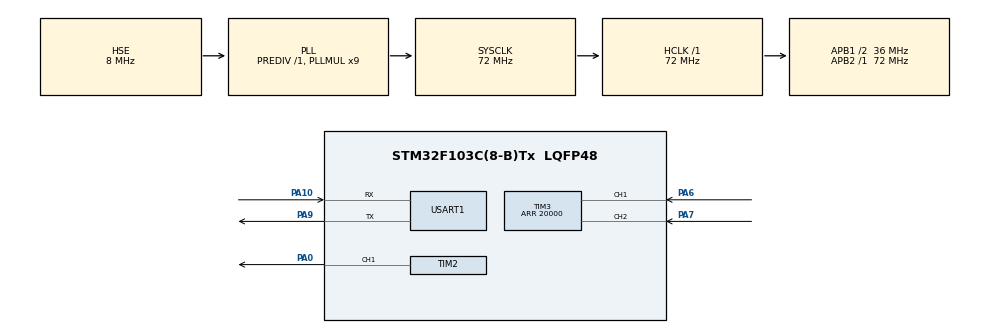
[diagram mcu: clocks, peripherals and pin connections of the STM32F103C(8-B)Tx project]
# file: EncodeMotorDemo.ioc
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Dma.Request0=USART1_TX
Dma.USART1_TX.0.Direction=DMA_MEMORY_TO_PERIPH
Dma.USART1_TX.0.Instance=DMA1_Channel4
Dma.USART1_TX.0.MemDataAlignment=DMA_MDATAALIGN_BYTE
Dma.USART1_TX.0.MemInc=DMA_MINC_ENABLE
Dma.USART1_TX.0.Mode=DMA_NORMAL
Dma.USART1_TX.0.PeriphDataAlignment=DMA_PDATAALIGN_BYTE
Dma.USART1_TX.0.PeriphInc=DMA_PINC_DISABLE
Dma.USART1_TX.0.Priority=DMA_PRIORITY_LOW
Mcu.Family=STM32F1
Mcu.Name=STM32F103C(8-B)Tx
Mcu.Package=LQFP48
NVIC.DMA1_Channel4_IRQn=true\:0\:0\:false\:false\:true\:false\:true\:true
NVIC.PriorityGroup=NVIC_PRIORITYGROUP_4
NVIC.TIM1_UP_IRQn=true\:15\:0\:false\:false\:true\:false\:true\:true
NVIC.TIM4_IRQn=true\:0\:0\:false\:false\:true\:true\:true\:true
NVIC.TimeBase=TIM1_UP_IRQn
NVIC.TimeBaseIP=TIM1
NVIC.USART1_IRQn=true\:0\:0\:false\:false\:true\:true\:true\:true
PA0-WKUP.Signal=S_TIM2_CH1_ETR
PA10.Mode=Asynchronous
PA10.Signal=USART1_RX
PA13.Mode=Serial_Wire
PA13.Signal=SYS_JTMS-SWDIO
PA14.Mode=Serial_Wire
PA14.Signal=SYS_JTCK-SWCLK
PA6.Signal=S_TIM3_CH1
PA7.Signal=S_TIM3_CH2
PA9.Mode=Asynchronous
PA9.Signal=USART1_TX
PC14-OSC32_IN.Mode=LSE-External-Oscillator
PC14-OSC32_IN.Signal=RCC_OSC32_IN
PC15-OSC32_OUT.Mode=LSE-External-Oscillator
PC15-OSC32_OUT.Signal=RCC_OSC32_OUT
PD0-OSC_IN.Mode=HSE-External-Oscillator
PD0-OSC_IN.Signal=RCC_OSC_IN
PD1-OSC_OUT.Mode=HSE-External-Oscillator
PD1-OSC_OUT.Signal=RCC_OSC_OUT
ProjectManager.HeapSize=0x200
ProjectManager.StackSize=0x400
ProjectManager.TargetToolchain=MDK-ARM V5.32
RCC.AHBFreq_Value=72000000
RCC.APB1CLKDivider=RCC_HCLK_DIV2
RCC.APB1Freq_Value=36000000
RCC.APB1TimFreq_Value=72000000
RCC.APB2Freq_Value=72000000
RCC.APB2TimFreq_Value=72000000
RCC.HCLKFreq_Value=72000000
RCC.PLLMUL=RCC_PLL_MUL9
RCC.PLLSourceVirtual=RCC_PLLSOURCE_HSE
RCC.SYSCLKFreq_VALUE=72000000
RCC.SYSCLKSource=RCC_SYSCLKSOURCE_PLLCLK
RCC.USBFreq_Value=72000000
SH.S_TIM2_CH1_ETR.0=TIM2_CH1,PWM Generation1 CH1
SH.S_TIM3_CH1.0=TIM3_CH1,Encoder_Interface
SH.S_TIM3_CH2.0=TIM3_CH2,Encoder_Interface
TIM2.AutoReloadPreload=TIM_AUTORELOAD_PRELOAD_ENABLE
TIM2.Channel-PWM\ Generation1\ CH1=TIM_CHANNEL_1
TIM2.Period=100-1
TIM2.Prescaler=72-1
TIM3.EncoderMode=TIM_ENCODERMODE_TI12
TIM3.IC1Filter=4
TIM3.IC2Filter=4
TIM3.Period=20000
TIM4.AutoReloadPreload=TIM_AUTORELOAD_PRELOAD_ENABLE
TIM4.Period=99
TIM4.Prescaler=7199
USART1.VirtualMode=VM_ASYNC
VP_SYS_VS_tim1.Mode=TIM1
VP_TIM2_VS_ClockSourceINT.Mode=Internal
VP_TIM4_VS_ClockSourceINT.Mode=Internal
board=custom

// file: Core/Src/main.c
/* USER CODE BEGIN Header */
/**
 ******************************************************************************
 * @file           : main.c
 * @brief          : Main program body
 ******************************************************************************
 * @attention
 *
 * Copyright (c) 2024 STMicroelectronics.
 * All rights reserved.
 *
 * This software is licensed under terms that can be found in the LICENSE file
 * in the root directory of this software component.
 * If no LICENSE file comes with this software, it is provided AS-IS.
 *
 ******************************************************************************
 */
/* USER CODE END Header */
#include "main.h"
#include "dma.h"
#include "tim.h"
#include "usart.h"
#include "gpio.h"

void SystemClock_Config(void);

int main(void)
{

  /* MCU Configuration--------------------------------------------------------*/

  /* Reset of all peripherals, Initializes the Flash interface and the Systick. */
  HAL_Init();

  /* Configure the system clock */
  SystemClock_Config();

  /* Initialize all configured peripherals */
  MX_GPIO_Init();
  MX_DMA_Init();
  MX_TIM2_Init();
  MX_TIM3_Init();
  MX_USART1_UART_Init();
  MX_TIM4_Init();
  /* USER CODE BEGIN 2 */
  elog_init();
  elog_set_fmt(ELOG_LVL_ASSERT, ELOG_FMT_ALL);
  elog_set_fmt(ELOG_LVL_ERROR, ELOG_FMT_LVL | ELOG_FMT_TAG | ELOG_FMT_TIME);
  elog_set_fmt(ELOG_LVL_WARN, ELOG_FMT_LVL | ELOG_FMT_TAG | ELOG_FMT_TIME);
  elog_set_fmt(ELOG_LVL_INFO, ELOG_FMT_LVL | ELOG_FMT_TAG | ELOG_FMT_FUNC | ELOG_FMT_LINE);
  elog_set_fmt(ELOG_LVL_DEBUG, ELOG_FMT_ALL & ~(ELOG_FMT_FUNC | ELOG_FMT_T_INFO | ELOG_FMT_P_INFO));
  elog_set_fmt(ELOG_LVL_VERBOSE, ELOG_FMT_ALL & ~(ELOG_FMT_FUNC | ELOG_FMT_T_INFO | ELOG_FMT_P_INFO));
  elog_start();
  HAL_TIM_Base_Start_IT(&htim4);
  HAL_TIM_PWM_Start(&htim2, TIM_CHANNEL_1);
  /* USER CODE END 2 */

  /* Infinite loop */
  while (1)
  {

  }
}

void SystemClock_Config(void)
{
  RCC_OscInitTypeDef RCC_OscInitStruct = {0};
  RCC_ClkInitTypeDef RCC_ClkInitStruct = {0};

  /** Initializes the RCC Oscillators according to the specified parameters
  * in the RCC_OscInitTypeDef structure.
  */
  RCC_OscInitStruct.OscillatorType = RCC_OSCILLATORTYPE_HSE;
  RCC_OscInitStruct.HSEState = RCC_HSE_ON;
  RCC_OscInitStruct.HSEPredivValue = RCC_HSE_PREDIV_DIV1;
  RCC_OscInitStruct.HSIState = RCC_HSI_ON;
  RCC_OscInitStruct.PLL.PLLState = RCC_PLL_ON;
  RCC_OscInitStruct.PLL.PLLSource = RCC_PLLSOURCE_HSE;
  RCC_OscInitStruct.PLL.PLLMUL = RCC_PLL_MUL9;
  if (HAL_RCC_OscConfig(&RCC_OscInitStruct) != HAL_OK)
  {
    Error_Handler();
  }

  /** Initializes the CPU, AHB and APB buses clocks
  */
  RCC_ClkInitStruct.ClockType = RCC_CLOCKTYPE_HCLK|RCC_CLOCKTYPE_SYSCLK
                              |RCC_CLOCKTYPE_PCLK1|RCC_CLOCKTYPE_PCLK2;
  RCC_ClkInitStruct.SYSCLKSource = RCC_SYSCLKSOURCE_PLLCLK;
  RCC_ClkInitStruct.AHBCLKDivider = RCC_SYSCLK_DIV1;
  RCC_ClkInitStruct.APB1CLKDivider = RCC_HCLK_DIV2;
  RCC_ClkInitStruct.APB2CLKDivider = RCC_HCLK_DIV1;

  if (HAL_RCC_ClockConfig(&RCC_ClkInitStruct, FLASH_LATENCY_2) != HAL_OK)
  {
    Error_Handler();
  }
}

void HAL_TIM_PeriodElapsedCallback(TIM_HandleTypeDef *htim)
{
  if (htim->Instance == TIM1) {
    HAL_IncTick();
  }
  /* USER CODE BEGIN Callback 1 */
  static int cnt = 0;
  static int ncnt = 0;
  if (htim->Instance == TIM4)
  {
    ncnt == 0 ? cnt++ : cnt--;
    __HAL_TIM_SetCompare(&htim2, TIM_CHANNEL_1, cnt);
    if (cnt == 100)
    {
      elog_i("tim4", "dao yi miao le");
      ncnt = 1;
    }
    if (cnt == 0)
    {
      ncnt = 0;
    }
  }
  /* USER CODE END Callback 1 */
}

void Error_Handler(void)
{
  __disable_irq();
  while (1)
  {
  }
}
